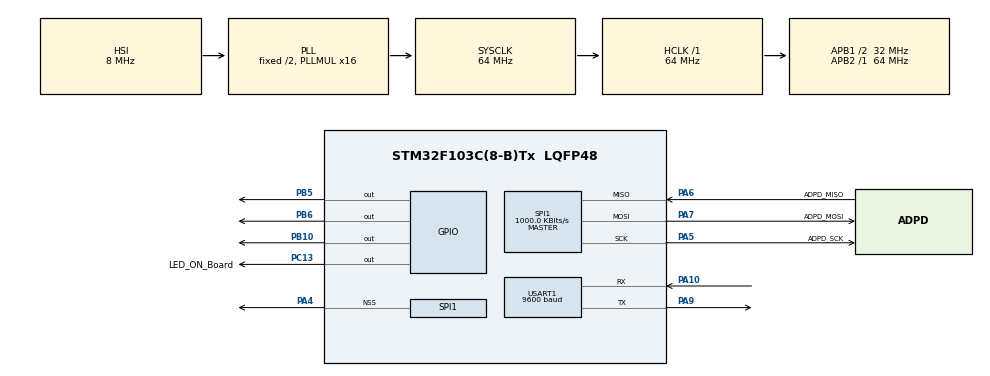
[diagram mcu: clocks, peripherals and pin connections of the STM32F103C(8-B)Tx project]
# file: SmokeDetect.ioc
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Mcu.Family=STM32F1
Mcu.Name=STM32F103C(8-B)Tx
Mcu.Package=LQFP48
NVIC.PriorityGroup=NVIC_PRIORITYGROUP_4
NVIC.USART1_IRQn=true\:0\:0\:false\:false\:true\:true\:true\:true
PA10.Mode=Asynchronous
PA10.Signal=USART1_RX
PA13.Mode=Serial_Wire
PA13.Signal=SYS_JTMS-SWDIO
PA14.Mode=Serial_Wire
PA14.Signal=SYS_JTCK-SWCLK
PA4.Mode=NSS_Signal_Hard_Output
PA4.Signal=SPI1_NSS
PA5.GPIO_Label=ADPD_SCK
PA5.Mode=Full_Duplex_Master
PA5.Signal=SPI1_SCK
PA6.GPIO_Label=ADPD_MISO
PA6.Mode=Full_Duplex_Master
PA6.Signal=SPI1_MISO
PA7.GPIO_Label=ADPD_MOSI
PA7.Mode=Full_Duplex_Master
PA7.Signal=SPI1_MOSI
PA9.Mode=Asynchronous
PA9.Signal=USART1_TX
PB10.GPIO_PuPd=GPIO_NOPULL
PB10.GPIO_Speed=GPIO_SPEED_FREQ_HIGH
PB10.PinState=GPIO_PIN_SET
PB10.Signal=GPIO_Output
PB5.GPIO_ModeDefaultOutputPP=GPIO_MODE_OUTPUT_OD
PB5.GPIO_PuPd=GPIO_NOPULL
PB5.GPIO_Speed=GPIO_SPEED_FREQ_HIGH
PB5.Signal=GPIO_Output
PB6.GPIO_ModeDefaultOutputPP=GPIO_MODE_OUTPUT_OD
PB6.GPIO_PuPd=GPIO_NOPULL
PB6.GPIO_Speed=GPIO_SPEED_FREQ_HIGH
PB6.Signal=GPIO_Output
PC13-TAMPER-RTC.GPIO_Label=LED_ON_Board
PC13-TAMPER-RTC.GPIO_Speed=GPIO_SPEED_FREQ_HIGH
PC13-TAMPER-RTC.Signal=GPIO_Output
PD0-OSC_IN.Mode=HSE-External-Oscillator
PD0-OSC_IN.Signal=RCC_OSC_IN
PD1-OSC_OUT.Mode=HSE-External-Oscillator
PD1-OSC_OUT.Signal=RCC_OSC_OUT
ProjectManager.HeapSize=0x200
ProjectManager.StackSize=0x400
ProjectManager.TargetToolchain=Makefile
RCC.AHBFreq_Value=64000000
RCC.APB1CLKDivider=RCC_HCLK_DIV2
RCC.APB1Freq_Value=32000000
RCC.APB1TimFreq_Value=64000000
RCC.APB2Freq_Value=64000000
RCC.APB2TimFreq_Value=64000000
RCC.HCLKFreq_Value=64000000
RCC.PLLMUL=RCC_PLL_MUL16
RCC.SYSCLKFreq_VALUE=64000000
RCC.SYSCLKSource=RCC_SYSCLKSOURCE_PLLCLK
RCC.USBFreq_Value=64000000
SPI1.BaudRatePrescaler=SPI_BAUDRATEPRESCALER_64
SPI1.CLKPhase=SPI_PHASE_2EDGE
SPI1.CLKPolarity=SPI_POLARITY_HIGH
SPI1.CalculateBaudRate=1000.0 KBits/s
SPI1.Direction=SPI_DIRECTION_2LINES
SPI1.Mode=SPI_MODE_MASTER
SPI1.VirtualNSS=VM_NSSHARD
SPI1.VirtualType=VM_MASTER
STMicroelectronics.X-CUBE-ALGOBUILD.1.3.0.LibraryCcDSPOoLibraryJjDSPOoLibrary=true
USART1.BaudRate=9600
USART1.VirtualMode=VM_ASYNC
VP_STMicroelectronics.X-CUBE-ALGOBUILD_VS_DSPOoLibraryJjLibrary_1.3.0_1.3.0.Mode=DSPOoLibraryJjLibrary
board=custom

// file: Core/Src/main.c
/* USER CODE BEGIN Header */
/**
 ******************************************************************************
 * @file           : main.c
 * @brief          : Main program body
 ******************************************************************************
 * @attention
 *
 * Copyright (c) 2023 STMicroelectronics.
 * All rights reserved.
 *
 * This software is licensed under terms that can be found in the LICENSE file
 * in the root directory of this software component.
 * If no LICENSE file comes with this software, it is provided AS-IS.
 *
 ******************************************************************************
 */
/* USER CODE END Header */
#include "main.h"
#include "spi.h"
#include "usart.h"
#include "gpio.h"

/* USER CODE BEGIN Includes */
#include "ADP.h"
#include "OLED.h"
#include "data_proc.h"
#include <stdbool.h>
#include <stdio.h>
//#include "hdlc.h"
#include <math.h>
#include "queue.h"
#include "smoke_cls.h"
//extern int Simple_test(uint32_t a, uint32_t b, double c);

/* USER CODE END Includes */

/* USER CODE BEGIN PV */
#define RXBUFFERSIZE 256
char RxBuffer[RXBUFFERSIZE];

#include <string.h>

#define AVER_CNT 4
#define RXBUFFERSIZ0E  256     //???????
#define RxPacketSIZE 4
#define Aver_time 20
#define Delay_time 2000
#define Refresh_Sens 0.01
char RxBuffer[RXBUFFERSIZE]; //????		//??????
uint8_t Uart1_Rx_Cnt = 0;    //??????
uint8_t Res = 0;
uint16_t USART1_RX_STA;

uint16_t last;
/* USER CODE END PV */

void SystemClock_Config(void);

/* USER CODE BEGIN 0 */
uint32_t LED_R = 0;
uint32_t LED_B = 0;
double LED_R_B = 0;

uint32_t delta_LED_R = 0;
uint32_t delta_LED_B = 0;
double R_B_ratio = 1;

uint8_t yes_cnt = 0;
uint8_t no_to_yes = 0;
uint8_t data_cnt = 0;
int a ;
int b ;

uint16_t cnt_test = 0,out = 0;

void Get_Aver(union FifoData* Aver_Data){

	struct CsPin ADPD_Gpio;

	ADPD_Gpio.gpio = GPIOB;
	ADPD_Gpio.gpioPinMask = GPIO_PIN_10;  //main

	union FifoData Fun_Data;
	uint8_t Fun_Cnt = 0;
	uint8_t Fun_Cnt_Real =0;
	Aver_Data ->bytes .SLOTA =0;
	Aver_Data ->bytes .SLOTB =0;

	while(1){

		HAL_Delay (Aver_time );
		Fun_Data = readData(hspi1,ADPD_Gpio);

		if(Fun_Data .raw ){

			if(Fun_Data .bytes .SLOTB <32000){

				Fun_Cnt ++;

				Aver_Data ->bytes .SLOTA +=Fun_Data .bytes .SLOTA ;
				Aver_Data ->bytes .SLOTB +=Fun_Data .bytes .SLOTB ;
				Fun_Cnt_Real ++;
			}
			if(Fun_Cnt >=AVER_CNT ||(Fun_Data .bytes .SLOTB >=32000&&Fun_Cnt_Real !=0)){

				Aver_Data ->bytes .SLOTA /=Fun_Cnt_Real ;
				Aver_Data ->bytes .SLOTB /=Fun_Cnt_Real ;
				break;
			}
		}

	}

}

int max(int a, int b)
{
	if (a>b)
		return a;
	else return b;
}

int state = 1;
//'LED_R','LED_B','LED_R_B'
int smoke_cls(float inputs[3]) {
    float output[3];
    float input[3];
    memcpy(input, inputs, 3 * sizeof(float));
    int max_index = forward(&nn, input, output);
    // printf("Predicted class: %d\n", max_index);
    enqueue(max_index);
    // printf("count of 0: %d\n", countelement(0));
    // printf("count of 1: %d\n", countelement(1));
    // printf("count of 2: %d\n", countelement(2));
    int arr[3] = {countelement(0), countelement(1), countelement(2)};
    // printf("max index: %d\n",find_max_index_int(arr,3));
    if (state == 1) {
        if (find_max_index_int(arr, 3) == 0) {
            state = 0;
        } else if (find_max_index_int(arr, 3) == 2) {
            state = 2;
        }
    } else if (state == 0) {
        if (countelement(0) == 0)
            state = 1;
    } else if (state == 2) {
        if (countelement(2) == 0)
            state = 1;
    }
    dequeue();
    //printf("state: %d\n", state);
    return  state;
}

/* USER CODE END 0 */

int main(void)
{

  /* USER CODE BEGIN 1 */
    uint8_t RxData; // main
    struct CsPin ADPD_Gpio;

    union FifoData rawdata;

    ADPD_Gpio.gpio = GPIOB;
    ADPD_Gpio.gpioPinMask = GPIO_PIN_10; // main

  /* USER CODE END 1 */

  /* MCU Configuration--------------------------------------------------------*/

  /* Reset of all peripherals, Initializes the Flash interface and the Systick. */
  HAL_Init();

  /* USER CODE BEGIN Init */
    uint8_t cnt = 0;
    double aver_Red = 0;
    double aver_Blue = 0;

  /* USER CODE END Init */

  /* Configure the system clock */
  SystemClock_Config();

  /* Initialize all configured peripherals */
  MX_GPIO_Init();
  MX_SPI1_Init();
  MX_USART1_UART_Init();
  /* USER CODE BEGIN 2 */
    smokeSensorADPD188Detect(hspi1, ADPD_Gpio);
    smokeSensorADPD188Init(hspi1, ADPD_Gpio);
    //	OLED_Init();
    HAL_UART_Receive_IT(&huart1, (uint8_t *)RxBuffer, 1);
    //
    //	OLED_ShowString(1, 1, "RxData:");

    //    test_hdlc();
    int t = 0;
  /* USER CODE END 2 */

  /* Infinite loop */
  /* USER CODE BEGIN WHILE */
    while (1) {
        // double a = sin(0.1*t);
        // double b = cos(0.1*t);

        // printf("hello world!\n");
        // HAL_GPIO_TogglePin(LED_ON_Board_GPIO_Port, LED_ON_Board_Pin);

			//Simple_test(1, 2, 3);
       HAL_Delay (Delay_time);//������ʱ

	  union FifoData Last_Data,New_Data,Base_Data;
		Get_Aver (&Last_Data );
		Base_Data .raw =0;

	  while(1){

//		  Get_Aver (&New_Data );
//			if (!Base_Data .raw) Base_Data .raw = New_Data.raw;
//
//		  if((New_Data .bytes .SLOTB <(1+Refresh_Sens )*Last_Data .bytes .SLOTB )&&
//			  (New_Data .bytes.SLOTB >(1-Refresh_Sens )*Last_Data .bytes .SLOTB) )
//				data_cnt ++;
//			else data_cnt = 0;
//
//		  Last_Data =New_Data ;
//
//			if (data_cnt >= 20){Base_Data =New_Data ;data_cnt =0;}
//
//			last = Base_Data .bytes .SLOTB ;
//
//			LED_B = New_Data .bytes.SLOTA;
//			LED_R = New_Data .bytes.SLOTB;
//			LED_R_B = LED_R /(LED_B +1e-7);
//
////			delta_LED_R = (uint32_t)max((int)((int)LED_R -(int)Base_Data .bytes .SLOTB),0 );
////			delta_LED_B = (uint32_t)max((int)((int)LED_B -(int)Base_Data .bytes .SLOTA) ,0);
//
//			a = LED_R -Base_Data .bytes .SLOTB;
//			b = LED_B -Base_Data .bytes .SLOTA;
//
//			delta_LED_R =max(a,0);
//			delta_LED_B = max(b,0);
//			if (delta_LED_B <=5) R_B_ratio = 0;
//			else R_B_ratio = delta_LED_R/(double)(delta_LED_B+1e-6);
//
//			//Simple_test(delta_LED_R,delta_LED_B,R_B_ratio);
//			float inputs[3] = {delta_LED_R,delta_LED_B,R_B_ratio};
//			int smoke = smoke_cls(inputs);
//			if (smoke == 0 )
//				Serial_SendYes();
//			else if(smoke == 2){
//				Serial_SendWater();
//			}
//			else if(smoke == 1){
//				Serial_SendNo();
//			}
//
////		  if((LED_R >=2*Base_Data .bytes .SLOTB) &&(LED_R_B <3)&&(LED_R_B >1)){
////
////			  no_to_yes ++;
////			  if(no_to_yes >=3){
////
////				  yes_cnt =5;
////			  }
////		  }
////		  else {
////
////			  no_to_yes =0;
////			  if (yes_cnt >0)
////				  yes_cnt --;
////		  }
////			if (yes_cnt)   Serial_SendYes ();
////			else Serial_SendNo ();
//		  Serial_BlueSend (LED_B);
//		  Serial_RedSend (LED_R);
	  }

        //		Serial_SendByte(LED_B);
    /* USER CODE END WHILE */

    }
}

void SystemClock_Config(void)
{
  RCC_OscInitTypeDef RCC_OscInitStruct = {0};
  RCC_ClkInitTypeDef RCC_ClkInitStruct = {0};

  /** Initializes the RCC Oscillators according to the specified parameters
  * in the RCC_OscInitTypeDef structure.
  */
  RCC_OscInitStruct.OscillatorType = RCC_OSCILLATORTYPE_HSI;
  RCC_OscInitStruct.HSIState = RCC_HSI_ON;
  RCC_OscInitStruct.HSICalibrationValue = RCC_HSICALIBRATION_DEFAULT;
  RCC_OscInitStruct.PLL.PLLState = RCC_PLL_ON;
  RCC_OscInitStruct.PLL.PLLSource = RCC_PLLSOURCE_HSI_DIV2;
  RCC_OscInitStruct.PLL.PLLMUL = RCC_PLL_MUL16;
  if (HAL_RCC_OscConfig(&RCC_OscInitStruct) != HAL_OK)
  {
    Error_Handler();
  }

  /** Initializes the CPU, AHB and APB buses clocks
  */
  RCC_ClkInitStruct.ClockType = RCC_CLOCKTYPE_HCLK|RCC_CLOCKTYPE_SYSCLK
                              |RCC_CLOCKTYPE_PCLK1|RCC_CLOCKTYPE_PCLK2;
  RCC_ClkInitStruct.SYSCLKSource = RCC_SYSCLKSOURCE_PLLCLK;
  RCC_ClkInitStruct.AHBCLKDivider = RCC_SYSCLK_DIV1;
  RCC_ClkInitStruct.APB1CLKDivider = RCC_HCLK_DIV2;
  RCC_ClkInitStruct.APB2CLKDivider = RCC_HCLK_DIV1;

  if (HAL_RCC_ClockConfig(&RCC_ClkInitStruct, FLASH_LATENCY_2) != HAL_OK)
  {
    Error_Handler();
  }
}

/* USER CODE BEGIN 4 */

int fputc(int ch, FILE *f)
{
  HAL_UART_Transmit(&huart1, (uint8_t *)&ch, 1, 0xffff);
  return ch;
}

int fgetc(FILE *f)
{
  uint8_t ch = 0;
  HAL_UART_Receive(&huart1, &ch, 1, 0xffff);
  return ch;
}

//uint8_t hdlc_buf[MAX_HDLC_LEN];
//uint8_t hdlc_buf_ptr;
//uint8_t hdlc_buf_sta;

void HAL_UART_RxCpltCallback(UART_HandleTypeDef *huart) {
    if (huart == &huart1) {
//        if (hdlc_buf_sta == 0) {
//            if (Res == HDLC_FLAG) {
//                hdlc_buf_ptr = 0;
//                hdlc_buf_sta = 1;
//                hdlc_buf[hdlc_buf_ptr++] = Res;
//            }
//        } else if (hdlc_buf_sta == 1) {
//            hdlc_buf[hdlc_buf_ptr++] = Res;
//            if (Res == HDLC_FLAG) {
//                hdlc_buf_ptr = 0;
//                hdlc_buf_sta = 0;
//                hdlc_decode_and_save(hdlc_buf, hdlc_buf_ptr);
//            }
//        }
        if (USART1_RX_STA == 0) {
            if (Res == 0x00 || Res == 0x01) {
                Uart1_Rx_Cnt = 0;
                USART1_RX_STA = 1;
                RxBuffer[Uart1_Rx_Cnt] = Res;
            }
        } else if (USART1_RX_STA == 1) {
            Uart1_Rx_Cnt++;
            RxBuffer[Uart1_Rx_Cnt] = Res;

            if (Uart1_Rx_Cnt >= RxPacketSIZE - 1) {
                USART1_RX_STA = 0;
                //                printf("Receive success Data:0x%02x 0x%02x
                //                0x%02x 0x%02x \r\n",
                //				RxBuffer[0],RxBuffer[1],RxBuffer[2],RxBuffer[3]);
                if ((RxBuffer[1] == 0x00) && (RxBuffer[2] == 0x00) &&
                    (RxBuffer[3] == 0x00)) {

                    if (RxBuffer[0] == 0x00) {

                        Serial_SendNo(); //����
                                         //�رվ���
                    } else if (RxBuffer[0] == 0x01) {

                        Serial_SendYes(); //����
                                          //�򿪾���
                    }
                }
            }
        }
    }
    HAL_UART_Receive_IT(&huart1, &Res, 1);
}
/* USER CODE END 4 */

void Error_Handler(void)
{
  /* USER CODE BEGIN Error_Handler_Debug */
    /* User can add his own implementation to report the HAL error return state
     */
    __disable_irq();
    while (1) {
    }
  /* USER CODE END Error_Handler_Debug */
}

#ifdef  USE_FULL_ASSERT
/**
  * @brief  Reports the name of the source file and the source line number
  *         where the assert_param error has occurred.
  * @param  file: pointer to the source file name
  * @param  line: assert_param error line source number
  * @retval None
  */
void assert_failed(uint8_t *file, uint32_t line)
{
  /* USER CODE BEGIN 6 */
    /* User can add his own implementation to report the file name and line
       number, ex: printf("Wrong parameters value: file %s on line %d\r\n",
       file, line) */
  /* USER CODE END 6 */
}
#endif /* USE_FULL_ASSERT */
